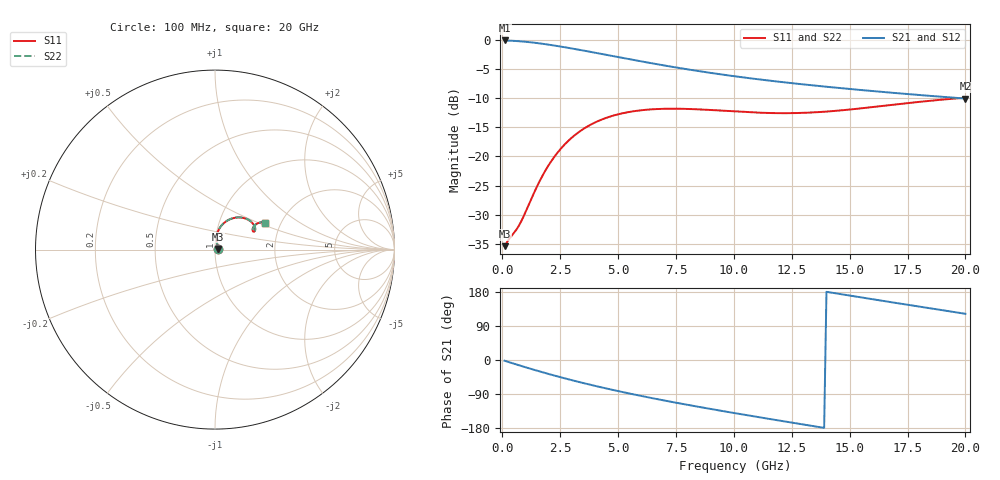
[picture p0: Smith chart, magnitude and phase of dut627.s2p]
! Touchstone file exported from HFSS 2024.1.0
!  File:  C:/UserFiles/LocalFiles/RDL_TSV_Batchsim/temp_RDL_TSV_627_1779803669.aedt
!  Generated:  10:09:43 PM May 26, 2026
!  Design:  RDL_TSV
!  Project:  temp_RDL_TSV_627_1779803669
!  Setup:  Setup1
!  Solution:  Sweep
! Variables:
!  dtsv = 9.42um
!  hbump = 3um
!  htsv = 71.83um
!  ldown = 292.79um
!  lrdl = 677.66um
!  p = 40
!  p1 = 44.81um
!  rhole = 10um
!  subl = 3589.01um
!  t = 450um
!  tdown = 4.01um
!  trdl = 4.57um
!  viad = 10um
!  wdown = 11.53um
!  wrdl = 22.81um
!  xbump = 18um
# GHz S MA R 50.000000
! Terminal data exported
! Port[1] = TM1_1_T1
! Port[2] = TM1_4_T1
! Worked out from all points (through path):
!   200 points, 100 MHz to 20 GHz, reference 50 ohm
!   highest |S21| = -0.15 dB at 100 MHz (marker M1); lowest = -10.1 dB at 20 GHz (marker M2)
!   group delay of S21, straight-line fit = 31.4 ps
!   lowest |S11| = -35.3 dB at 100 MHz (marker M3), VSWR 1.03, Z = 51.7 + j0.367 ohm
!   |S11| at or under -10 dB: start of sweep to 19.82 GHz
!   |S22| runs from -35.3 to -9.9 dB; largest |S21 - S12| = 1.3e-14
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0.1  0.01709 12.0  0.9829 -2.0  0.9829 -2.0  0.01709 12.0
! Gamma 0 0 0 0
! Port Impedance 50 0 50 0
0.6  0.02351 46.9  0.9725 -11.6  0.9725 -11.6  0.0235 47.0
0.8  0.02746 59.1  0.966 -15.4  0.966 -15.4  0.02745 59.2
1.3  0.04551 78.3  0.9445 -24.6  0.9445 -24.6  0.04555 78.4
1.8  0.07221 82.9  0.9171 -33.4  0.9171 -33.4  0.07231 83.0
2.2  0.09641 81.5  0.8925 -40.2  0.8925 -40.2  0.09658 81.6
2.6  0.1211 78.1  0.8665 -46.8  0.8665 -46.8  0.1213 78.2
3  0.1448 73.7  0.8398 -53.2  0.8398 -53.2  0.1451 73.8
3.5  0.1719 67.8  0.806 -60.8  0.806 -60.8  0.1723 67.9
4.2  0.2034 59.6  0.7596 -71.0  0.7596 -71.0  0.2039 59.7
4.9  0.2268 52.0  0.7151 -80.7  0.7151 -80.7  0.2275 52.2
5.8  0.2458 43.6  0.6622 -92.4  0.6622 -92.4  0.2466 43.7
6.8  0.2552 36.1  0.6099 -104.6  0.6099 -104.6  0.2561 36.2
7.6  0.2561 31.5  0.5732 -113.8  0.5732 -113.8  0.2571 31.6
8.4  0.2534 28.2  0.5406 -122.7  0.5406 -122.7  0.2543 28.2
10.1  0.2424 24.8  0.4836 -140.8  0.4836 -140.8  0.2434 24.8
11.7  0.2351 25.5  0.4417 -157.2  0.4417 -157.2  0.236 25.5
13.4  0.2381 28.4  0.4059 -174.2  0.4059 -174.2  0.2388 28.4
15  0.2521 30.9  0.378 170.0  0.378 170.0  0.2527 30.9
16.7  0.2745 31.7  0.3527 153.5  0.3527 153.5  0.2751 31.8
18.3  0.2972 30.6  0.332 138.1  0.332 138.1  0.2977 30.7
20  0.3182 28.1  0.3129 122.0  0.3129 122.0  0.3187 28.2
